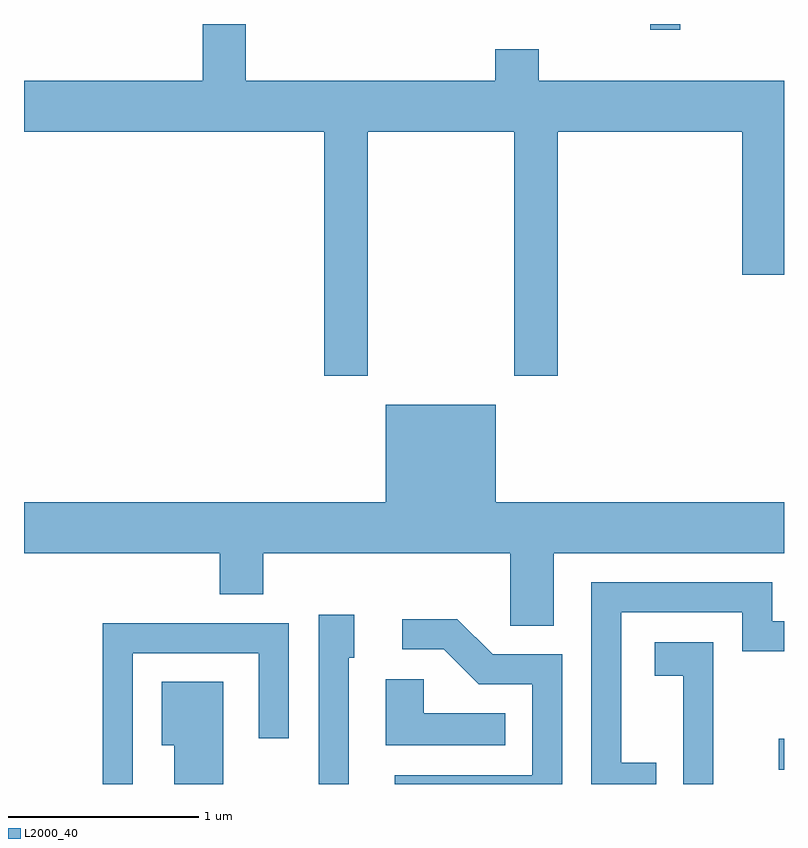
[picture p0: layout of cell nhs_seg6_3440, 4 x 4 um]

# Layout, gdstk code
import gdstk
lib = gdstk.Library(unit=1e-6, precision=1e-09)
def R(c, l, rs):  # rectangles x0, y0, x1, y1
    for r in rs: c.add(gdstk.rectangle(r[:2], r[2:], *l))
def P(c, l, *ps):  # polygons
    for p in ps: c.add(gdstk.Polygon(p, *l))
L2000_40 = (2000, 40)

nhs_seg6_3440 = lib.new_cell('nhs_seg6_3440')
R(nhs_seg6_3440, L2000_40, [(293.583,1542.236,293.611,1542.399), (292.906,1546.133,293.064,1546.162)])
P(nhs_seg6_3440, L2000_40, [(291.419,1545.596),(292.191,1545.596),(292.191,1544.311),(292.419,1544.311),(292.419,1545.596),(293.391,1545.596),(293.391,1544.841),(293.611,1544.841),(293.611,1545.864),(292.319,1545.864),(292.319,1546.029),(292.091,1546.029),(292.091,1545.864),(290.779,1545.864),(290.779,1546.162),(290.551,1546.162),(290.551,1545.864),(289.611,1545.864),(289.611,1545.596),(291.191,1545.596),(291.191,1544.311),(291.419,1544.311)],
  [(292.399,1543.376),(293.611,1543.376),(293.611,1543.644),(292.094,1543.644),(292.094,1544.159),(291.516,1544.159),(291.516,1543.644),(289.611,1543.644),(289.611,1543.376),(290.641,1543.376),(290.641,1543.161),(290.869,1543.161),(290.869,1543.376),(292.171,1543.376),(292.171,1542.996),(292.399,1542.996)],
  [(292.938,1542.274),(292.754,1542.274),(292.754,1543.066),(293.391,1543.066),(293.391,1542.861),(293.611,1542.861),(293.611,1543.019),(293.549,1543.019),(293.549,1543.224),(292.596,1543.224),(292.596,1542.162),(292.938,1542.162)],
  [(291.319,1542.826),(291.349,1542.826),(291.349,1543.054),(291.161,1543.054),(291.161,1542.162),(291.319,1542.162)],
  [(292.444,1542.844),(292.077,1542.844),(291.892,1543.029),(291.603,1543.029),(291.603,1542.871),(291.819,1542.871),(292.004,1542.686),(292.286,1542.686),(292.286,1542.209),(291.563,1542.209),(291.563,1542.162),(292.444,1542.162)],
  [(290.184,1542.851),(290.846,1542.851),(290.846,1542.403),(291.004,1542.403),(291.004,1543.009),(290.026,1543.009),(290.026,1542.162),(290.184,1542.162)],
  [(293.239,1542.909),(292.931,1542.909),(292.931,1542.731),(293.081,1542.731),(293.081,1542.162),(293.239,1542.162)],
  [(292.143,1542.534),(291.714,1542.534),(291.714,1542.714),(291.516,1542.714),(291.516,1542.366),(292.143,1542.366)],
  [(290.659,1542.699),(290.336,1542.699),(290.336,1542.366),(290.401,1542.366),(290.401,1542.162),(290.659,1542.162)])

lib.write_gds('nhs_seg6_3440.gds')
